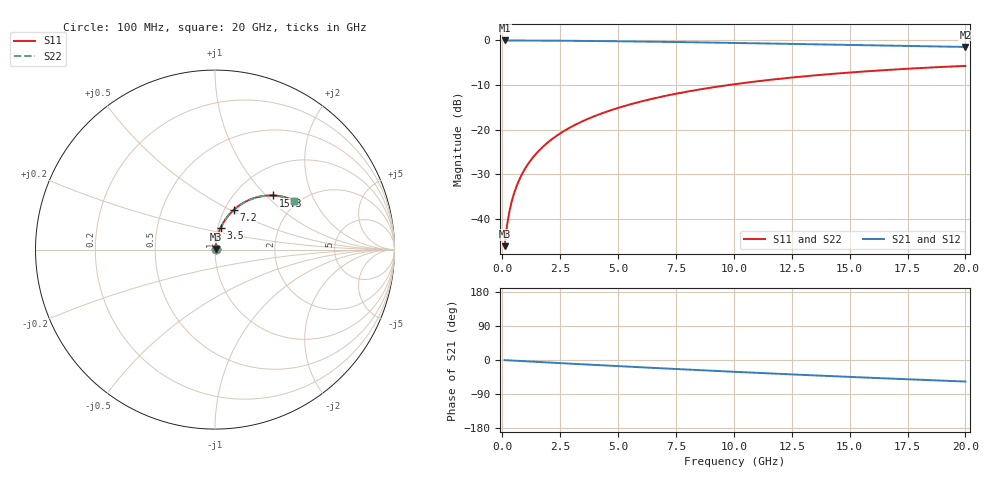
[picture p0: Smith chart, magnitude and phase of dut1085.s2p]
! Touchstone file exported from HFSS 2026.1.0
!  File:  C:/ffzhzh/LocalFiles/Ansys_Project_Files/temp_train_BSMRDL_1085_1783174516_51560.aedt
!  Generated:  10:16:43 PM Jul  4, 2026
!  Design:  BSMRDL
!  Project:  temp_train_BSMRDL_1085_1783174516_51560
! Variables:
!  h_bsmrdl = 5.89um
!  h_ox = 20um
!  h_rdl = 5um
!  h_sub = 80um
!  h_tmrdl = 5um
!  h_tsv = 80um
!  h_via = 3um
!  l_bsmrdl = 871.07um
!  l_sub = 1271.07um
!  l_tmrdl = 200um
!  m_sub = 200um
!  pitch = 51.42um
!  r_tsv = 6um
!  s_tmrdl = 10um
!  w_bsmrdl = 17.62um
!  w_sub = 500um
!  w_tmrdl = 12um
!  x_tsv_center1 = 206um
!  x_tsv_center2 = 1094.69um
!  x_tsv_center3 = 1306.69um
!  x_tsv_center4 = 2195.38um
!  x_tsv_center5 = 2407.38um
!  x_tsv_center6 = 3296.07um
# GHz S MA R 50.000000
! Terminal data exported
! Port[1] = BSM_RDL1_1_T1
! Port[2] = BSM_RDL1_1_T2
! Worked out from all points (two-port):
!   200 points, 100 MHz to 20 GHz, reference 50 ohm
!   highest |S21| = -0.03 dB at 100 MHz (marker M1); lowest = -1.5 dB at 20 GHz (marker M2)
!   |S21| within 3 dB of the highest: start of sweep to end of sweep
!   lowest |S11| = -46.1 dB at 100 MHz (marker M3), VSWR 1.01, Z = 50.3 + j0.389 ohm
!   |S11| at or under -10 dB: start of sweep to 9.785 GHz
!   |S22| runs from -46.1 to -5.7 dB; largest |S21 - S12| = 1.1e-14
!   S11 on the Smith chart (normalised r, x): 100 MHz: 1.01, +0.01; 3.5 GHz: 1.03, +0.25; 7.2 GHz: 1.10, +0.52; 15.3 GHz: 1.46, +1.10; 20 GHz: 1.88, +1.41
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0.1  0.004954 51.2  0.9969 -0.3  0.9969 -0.3  0.004954 51.2
! Gamma 0 0 0 0
! Port Impedance 50 0 50 0
0.2  0.008322 66.5  0.9967 -0.7  0.9967 -0.7  0.008322 66.5
0.3  0.01187 72.5  0.9966 -1.0  0.9966 -1.0  0.01187 72.5
0.4  0.01545 75.6  0.9964 -1.3  0.9964 -1.3  0.01545 75.6
0.5  0.01905 77.5  0.9963 -1.7  0.9963 -1.7  0.01905 77.5
0.7  0.02627 79.5  0.996 -2.3  0.996 -2.3  0.02627 79.5
1  0.03714 80.6  0.9954 -3.3  0.9954 -3.3  0.03714 80.6
1.4  0.05161 80.6  0.9944 -4.6  0.9944 -4.6  0.05161 80.6
1.7  0.06239 80.2  0.9935 -5.6  0.9935 -5.6  0.0624 80.2
2  0.07311 79.6  0.9925 -6.6  0.9925 -6.6  0.07311 79.6
2.7  0.09777 77.8  0.9895 -8.9  0.9895 -8.9  0.09778 77.8
3.5  0.1253 75.5  0.9855 -11.4  0.9855 -11.4  0.1253 75.5
4.2  0.1488 73.5  0.9815 -13.7  0.9815 -13.7  0.1488 73.5
5  0.1751 71.2  0.9764 -16.2  0.9764 -16.2  0.1751 71.2
6.8  0.2314 66.0  0.9633 -21.7  0.9633 -21.7  0.2314 65.9
7.2  0.2434 64.8  0.9601 -22.9  0.9601 -22.9  0.2434 64.8
8.6  0.2839 60.8  0.9483 -27.0  0.9483 -27.0  0.2839 60.8
10.1  0.3245 56.7  0.9347 -31.4  0.9347 -31.4  0.3245 56.7
13.4  0.4031 47.9  0.9031 -40.4  0.9031 -40.4  0.4031 47.9
15.3  0.4417 43.1  0.8848 -45.4  0.8848 -45.4  0.4417 43.0
16.7  0.4671 39.6  0.8717 -48.9  0.8717 -48.9  0.4671 39.6
20  0.5175 31.9  0.8431 -56.8  0.8431 -56.8  0.5175 31.9
